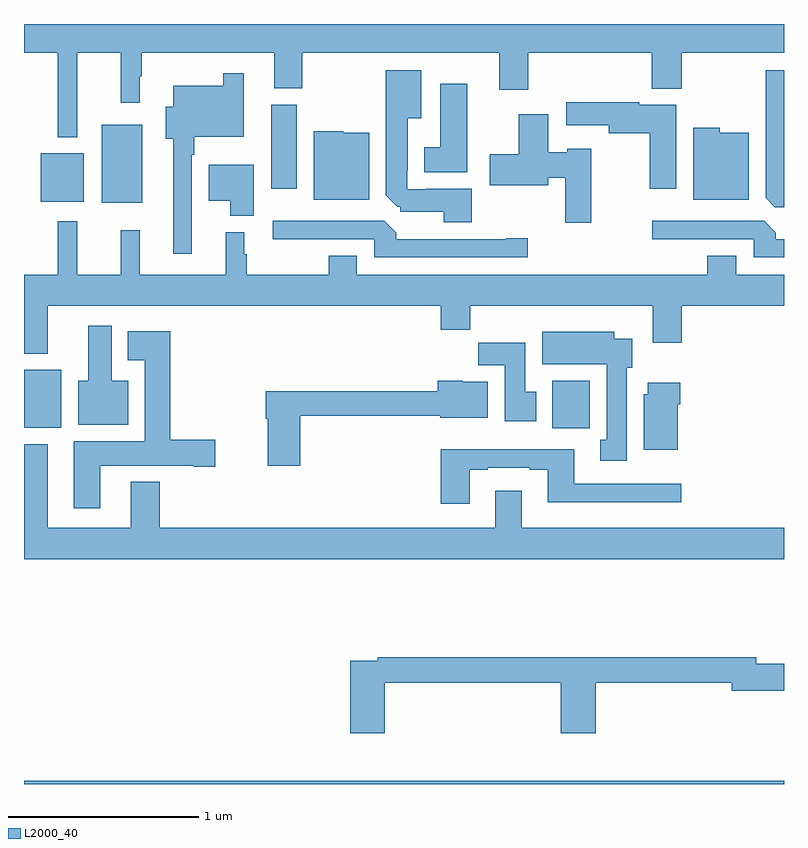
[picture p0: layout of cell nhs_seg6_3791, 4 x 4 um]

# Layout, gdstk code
import gdstk
lib = gdstk.Library(unit=1e-6, precision=1e-09)
def R(c, l, rs):  # rectangles x0, y0, x1, y1
    for r in rs: c.add(gdstk.rectangle(r[:2], r[2:], *l))
def P(c, l, *ps):  # polygons
    for p in ps: c.add(gdstk.Polygon(p, *l))
L2000_40 = (2000, 40)

nhs_seg6_3791 = lib.new_cell('nhs_seg6_3791')
R(nhs_seg6_3791, L2000_40, [(335,931.5,339,931.516), (337.781,933.372,337.977,933.622), (335,933.374,335.197,933.679), (335.408,934.559,335.623,934.969), (335.087,934.565,335.314,934.819), (336.302,934.632,336.436,935.076)])
P(nhs_seg6_3791, L2000_40, [(335,935.348),(335.177,935.348),(335.177,934.904),(335.281,934.904),(335.281,935.348),(335.509,935.348),(335.509,935.085),(335.608,935.085),(335.608,935.225),(335.62,935.225),(335.62,935.348),(336.317,935.348),(336.317,935.161),(336.465,935.161),(336.465,935.348),(337.502,935.348),(337.502,935.154),(337.655,935.154),(337.655,935.348),(338.303,935.348),(338.303,935.159),(338.463,935.159),(338.463,935.348),(339,935.348),(339,935.5),(335,935.5)],
  [(337.357,934.633),(337.117,934.633),(337.117,934.629),(337.017,934.629),(337.017,934.729),(337.021,934.729),(337.021,935.003),(337.09,935.003),(337.09,935.257),(336.905,935.257),(336.905,934.599),(336.965,934.539),(336.981,934.539),(336.981,934.512),(337.208,934.512),(337.208,934.457),(337.357,934.457)],
  [(339,935.257),(338.903,935.257),(338.903,934.585),(338.952,934.536),(339,934.536)],
  [(335.883,934.811),(335.896,934.811),(335.896,934.907),(336.156,934.907),(336.156,935.242),(336.048,935.242),(336.048,935.176),(335.786,935.176),(335.786,935.065),(335.747,935.065),(335.747,934.895),(335.786,934.895),(335.786,934.29),(335.883,934.29)],
  [(337.333,935.185),(337.19,935.185),(337.19,934.852),(337.106,934.852),(337.106,934.721),(337.333,934.721)],
  [(338.434,935.074),(338.238,935.074),(338.238,935.089),(337.854,935.089),(337.854,934.967),(338.078,934.967),(338.078,934.925),(338.293,934.925),(338.293,934.632),(338.434,934.632)],
  [(337.986,934.843),(337.86,934.843),(337.86,934.825),(337.759,934.825),(337.759,935.026),(337.604,935.026),(337.604,934.815),(337.452,934.815),(337.452,934.652),(337.759,934.652),(337.759,934.691),(337.849,934.691),(337.849,934.455),(337.986,934.455)],
  [(338.815,934.927),(338.661,934.927),(338.661,934.954),(338.522,934.954),(338.522,934.574),(338.815,934.574)],
  [(336.817,934.927),(336.681,934.927),(336.681,934.936),(336.524,934.936),(336.524,934.574),(336.817,934.574)],
  [(336.208,934.759),(335.972,934.759),(335.972,934.571),(336.086,934.571),(336.086,934.49),(336.208,934.49)],
  [(339,934.368),(338.957,934.368),(338.957,934.402),(338.895,934.464),(338.307,934.464),(338.307,934.368),(338.841,934.368),(338.841,934.272),(339,934.272)],
  [(337.651,934.373),(337.538,934.373),(337.538,934.368),(336.959,934.368),(336.959,934.402),(336.897,934.464),(336.309,934.464),(336.309,934.368),(336.843,934.368),(336.843,934.272),(337.651,934.272)],
  [(335.125,934.016),(337.193,934.016),(337.193,933.892),(337.349,933.892),(337.349,934.016),(338.309,934.016),(338.309,933.822),(338.462,933.822),(338.462,934.016),(339,934.016),(339,934.18),(338.749,934.18),(338.749,934.279),(338.597,934.279),(338.597,934.18),(336.751,934.18),(336.751,934.279),(336.604,934.279),(336.604,934.18),(336.172,934.18),(336.172,934.287),(336.16,934.287),(336.16,934.405),(336.062,934.405),(336.062,934.18),(335.609,934.18),(335.609,934.414),(335.509,934.414),(335.509,934.18),(335.281,934.18),(335.281,934.462),(335.177,934.462),(335.177,934.18),(335,934.18),(335,933.764),(335.125,933.764)],
  [(335.548,933.622),(335.461,933.622),(335.461,933.913),(335.339,933.913),(335.339,933.622),(335.285,933.622),(335.285,933.392),(335.548,933.392)],
  [(335.401,933.176),(335.894,933.176),(335.894,933.169),(336.007,933.169),(336.007,933.311),(335.771,933.311),(335.771,933.883),(335.546,933.883),(335.546,933.731),(335.636,933.731),(335.636,933.304),(335.261,933.304),(335.261,932.952),(335.401,932.952)],
  [(338.173,933.69),(338.2,933.69),(338.2,933.844),(338.107,933.844),(338.107,933.88),(337.727,933.88),(337.727,933.71),(338.066,933.71),(338.066,933.313),(338.033,933.313),(338.033,933.201),(338.173,933.201)],
  [(337.696,933.564),(337.639,933.564),(337.639,933.822),(337.39,933.822),(337.39,933.704),(337.529,933.704),(337.529,933.408),(337.696,933.408)],
  [(336.455,933.439),(337.19,933.439),(337.19,933.428),(337.441,933.428),(337.441,933.616),(337.308,933.616),(337.308,933.622),(337.178,933.622),(337.178,933.568),(336.272,933.568),(336.272,933.422),(336.284,933.422),(336.284,933.174),(336.455,933.174)],
  [(338.44,933.5),(338.453,933.5),(338.453,933.613),(338.282,933.613),(338.282,933.552),(338.261,933.552),(338.261,933.26),(338.44,933.26)],
  [(339,932.848),(337.621,932.848),(337.621,933.043),(337.481,933.043),(337.481,932.848),(335.714,932.848),(335.714,933.091),(335.561,933.091),(335.561,932.848),(335.125,932.848),(335.125,933.289),(335,933.289),(335,932.684),(339,932.684)],
  [(337.345,933.153),(337.441,933.153),(337.441,933.165),(337.661,933.165),(337.661,933.153),(337.757,933.153),(337.757,932.984),(338.458,932.984),(338.458,933.081),(337.897,933.081),(337.897,933.262),(337.193,933.262),(337.193,932.976),(337.345,932.976)],
  [(336.899,932.032),(337.826,932.032),(337.826,931.767),(338.009,931.767),(338.009,932.032),(338.726,932.032),(338.726,931.99),(339,931.99),(339,932.132),(338.854,932.132),(338.854,932.168),(336.862,932.168),(336.862,932.148),(336.716,932.148),(336.716,931.767),(336.899,931.767)])

lib.write_gds('nhs_seg6_3791.gds')
